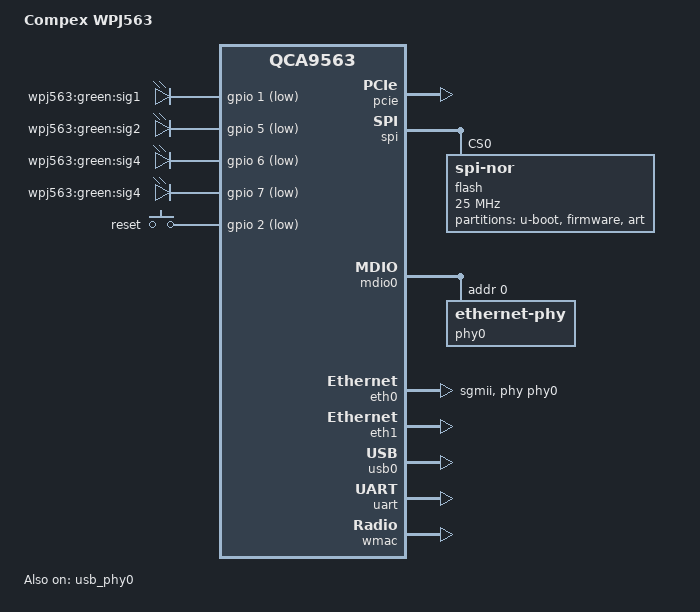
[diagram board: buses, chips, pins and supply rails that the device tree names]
// SPDX-License-Identifier: GPL-2.0-or-later OR MIT
/dts-v1/;

#include <dt-bindings/gpio/gpio.h>
#include <dt-bindings/input/input.h>

#include "qca956x.dtsi"

/ {
	model = "Compex WPJ563";
	compatible = "compex,wpj563", "qca,qca9563";

	chosen {
		bootargs = "console=ttyS0,115200n8";
	};

	leds {
		compatible = "gpio-leds";

		sig1 {
			label = "wpj563:green:sig1";
			gpios = <&gpio 1 GPIO_ACTIVE_LOW>;
		};

		sig2 {
			label = "wpj563:green:sig2";
			gpios = <&gpio 5 GPIO_ACTIVE_LOW>;
		};

		sig3 {
			label = "wpj563:green:sig4";
			gpios = <&gpio 6 GPIO_ACTIVE_LOW>;
		};

		sig4 {
			label = "wpj563:green:sig4";
			gpios = <&gpio 7 GPIO_ACTIVE_LOW>;
		};
	};

	keys {
		compatible = "gpio-keys";

		reset {
			linux,code = <KEY_RESTART>;
			gpios = <&gpio 2 GPIO_ACTIVE_LOW>;
			debounce-interval = <60>;
		};
	};
};

&pcie {
	status = "okay";
};

&spi {
	status = "okay";

	num-cs = <1>;

	flash@0 {
		compatible = "jedec,spi-nor";
		reg = <0>;
		spi-max-frequency = <25000000>;

		partitions {
			compatible = "fixed-partitions";
			#address-cells = <1>;
			#size-cells = <1>;

			uboot: partition@0 {
				label = "u-boot";
				reg = <0x000000 0x030000>;
				read-only;
			};

			partition@30000 {
				compatible = "denx,uimage";
				label = "firmware";
				reg = <0x030000 0xfc0000>;
			};

			art: partition@ff0000 {
				label = "art";
				reg = <0xff0000 0x010000>;
				read-only;
			};
		};
	};
};

&mdio0 {
	status = "okay";

	phy-mask = <0>;
	phy0: ethernet-phy@0 {
		reg = <0>;
		phy-mode = "sgmii";
		qca,mib-poll-interval = <500>;

		qca,ar8327-initvals = <
			0x04 0x00080080 /* PORT0 PAD MODE CTRL */
			0x7c 0x0000007e /* PORT0_STATUS */
		>;
	};
};

&eth0 {
	status = "okay";
	// TODO mac wrong

	pll-data = <0x03000101 0x00000101 0x00001919>;

	mtd-mac-address = <&uboot 0x10>;
	phy-mode = "sgmii";
	phy-handle = <&phy0>;
};

&eth1 {
	// TODO mac wrong and doesn't work
	status = "okay";
};

&usb_phy0 {
	status = "okay";
};

&usb0 {
	status = "okay";

	// TODO test this
	#address-cells = <1>;
	#size-cells = <0>;

	port@1 {
		reg = <1>;
		#trigger-source-cells = <0>;
	};
};

&uart {
	status = "okay";
};

&gpio {
	status = "okay";
};

&wmac {
	status = "okay";
	mtd-cal-data = <&art 0x1000>;
	mtd-mac-address = <&uboot 0x18>;
};
